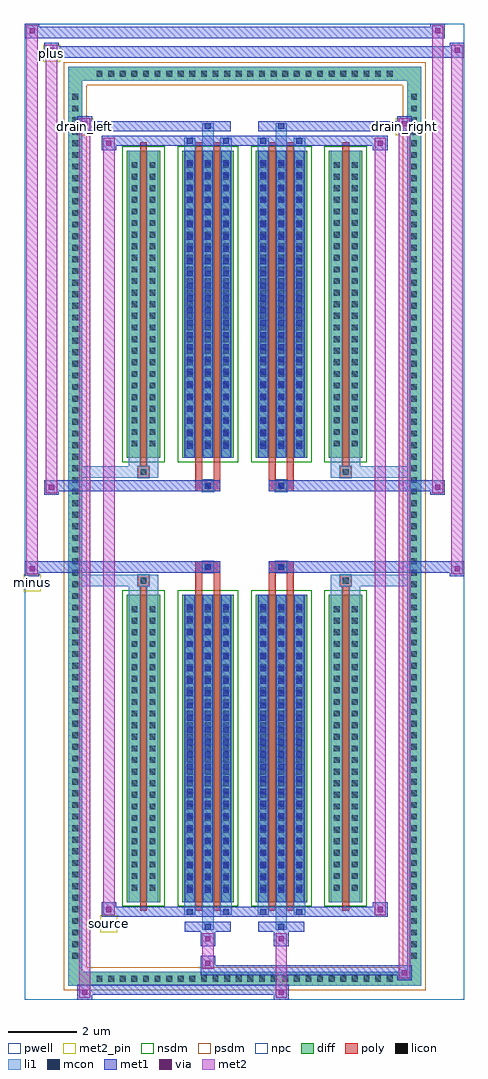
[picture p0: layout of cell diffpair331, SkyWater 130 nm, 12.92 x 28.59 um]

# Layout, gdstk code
import gdstk
lib = gdstk.Library(unit=1e-6, precision=5e-09)
def R(c, l, rs):  # rectangles x0, y0, x1, y1
    for r in rs: c.add(gdstk.rectangle(r[:2], r[2:], *l))
def A(c, l, x, y, w, h, nx, ny, dx, dy):  # array of equal rectangles
    R(c, l, [(x+i*dx, y+j*dy, x+i*dx+w, y+j*dy+h) for i in range(nx) for j in range(ny)])
def P(c, l, *ps):  # polygons
    for p in ps: c.add(gdstk.Polygon(p, *l))
pwell = (64, 44)
diff = (65, 20)
poly = (66, 20)
licon = (66, 44)
li1 = (67, 20)
mcon = (67, 44)
met1 = (68, 20)
via = (68, 44)
met2_pin = (69, 16)
met2 = (69, 20)
nsdm = (93, 44)
psdm = (94, 20)
npc = (95, 20)

diffpair331 = lib.new_cell('diffpair331')
R(diffpair331, pwell, [(-6.44,-13.86,6.44,14.73), (-3.76,-12.05,-0.01,-0.825), (0.01,-12.05,3.76,-0.825), (-3.76,0.825,-0.01,12.05), (0.01,0.825,3.76,12.05)])
A(diffpair331, diff, -4.455, -13.46, 0.41, 0.41, 26, 2, 0.34, 26.51)
A(diffpair331, diff, -5.17, -12.785, 0.41, 0.41, 1, 75, 0, 0.34)
A(diffpair331, diff, 4.76, -12.785, 0.41, 0.41, 1, 75, 0, 0.34)
R(diffpair331, diff, [(-4.455,-13.46,4.455,-13.05), (-5.17,-12.785,-4.76,12.785), (4.76,-12.785,5.17,12.785), (-3.45,-11.005,-2.47,-2.005), (-1.83,-11.005,-0.32,-2.005), (0.32,-11.005,1.83,-2.005), (2.47,-11.005,3.45,-2.005), (-3.45,2.005,-2.47,11.005), (-1.83,2.005,-0.32,11.005), (0.32,2.005,1.83,11.005), (2.47,2.005,3.45,11.005), (-4.455,13.05,4.455,13.46)])
P(diffpair331, diff, [(5.17,13.46),(-5.17,13.46),(-5.17,-13.05),(-4.76,-13.05),(-4.76,13.05),(4.76,13.05),(4.76,-13.05),(-4.76,-13.05),(-5.17,-13.05),(-5.17,-13.46),(5.17,-13.46)])
R(diffpair331, poly, [(-3.06,-11.255,-2.86,-1.755), (-1.44,-11.255,-1.24,-1.755), (-0.91,-11.255,-0.71,-1.755), (0.71,-11.255,0.91,-1.755), (1.24,-11.255,1.44,-1.755), (2.86,-11.255,3.06,-1.755), (-3.125,-1.755,-2.795,-1.425), (-3.125,-1.755,-2.795,-1.425), (-1.44,-1.755,-1.24,-1.355), (-0.91,-1.755,-0.71,-1.355), (0.71,-1.755,0.91,-1.355), (1.24,-1.755,1.44,-1.355), (2.795,-1.755,3.125,-1.425), (2.795,-1.755,3.125,-1.425), (-1.44,-1.355,-0.71,-1.025), (-1.24,-1.355,-0.91,-1.025), (0.71,-1.355,1.44,-1.025), (0.91,-1.355,1.24,-1.025), (-1.44,1.025,-0.71,1.355), (-1.24,1.025,-0.91,1.355), (0.71,1.025,1.44,1.355), (0.91,1.025,1.24,1.355), (-1.44,1.355,-1.24,1.755), (-0.91,1.355,-0.71,1.755), (0.71,1.355,0.91,1.755), (1.24,1.355,1.44,1.755), (-3.125,1.425,-2.795,1.755), (-3.125,1.425,-2.795,1.755), (2.795,1.425,3.125,1.755), (2.795,1.425,3.125,1.755), (-3.06,1.755,-2.86,11.255), (-1.44,1.755,-1.24,11.255), (-0.91,1.755,-0.71,11.255), (0.71,1.755,0.91,11.255), (1.24,1.755,1.44,11.255), (2.86,1.755,3.06,11.255)])
A(diffpair331, licon, -4.335, -13.34, 0.17, 0.17, 26, 2, 0.34, 26.51)
A(diffpair331, licon, -5.05, -12.665, 0.17, 0.17, 1, 75, 0, 0.34)
A(diffpair331, licon, 4.88, -12.665, 0.17, 0.17, 1, 75, 0, 0.34)
A(diffpair331, licon, -3.31, -10.67, 0.17, 0.17, 1, 25, 0, 0.34)
A(diffpair331, licon, -2.78, -10.67, 0.17, 0.17, 1, 25, 0, 0.34)
A(diffpair331, licon, -1.69, -10.67, 0.17, 0.17, 3, 25, 0.53, 0.34)
A(diffpair331, licon, 0.46, -10.67, 0.17, 0.17, 3, 25, 0.53, 0.34)
A(diffpair331, licon, 2.61, -10.67, 0.17, 0.17, 1, 25, 0, 0.34)
A(diffpair331, licon, 3.14, -10.67, 0.17, 0.17, 1, 25, 0, 0.34)
A(diffpair331, licon, -3.31, 2.34, 0.17, 0.17, 1, 25, 0, 0.34)
A(diffpair331, licon, -2.78, 2.34, 0.17, 0.17, 1, 25, 0, 0.34)
A(diffpair331, licon, -1.69, 2.34, 0.17, 0.17, 3, 25, 0.53, 0.34)
A(diffpair331, licon, 0.46, 2.34, 0.17, 0.17, 3, 25, 0.53, 0.34)
A(diffpair331, licon, 2.61, 2.34, 0.17, 0.17, 1, 25, 0, 0.34)
A(diffpair331, licon, 3.14, 2.34, 0.17, 0.17, 1, 25, 0, 0.34)
R(diffpair331, licon, [(-3.045,-1.675,-2.875,-1.505), (2.875,-1.675,3.045,-1.505), (-1.16,-1.275,-0.99,-1.105), (0.99,-1.275,1.16,-1.105), (-1.16,1.105,-0.99,1.275), (0.99,1.105,1.16,1.275), (-3.045,1.505,-2.875,1.675), (2.875,1.505,3.045,1.675)])
A(diffpair331, li1, -4.415, -13.42, 0.33, 0.33, 26, 2, 0.34, 26.51)
A(diffpair331, li1, -5.13, -12.745, 0.33, 0.33, 1, 75, 0, 0.34)
A(diffpair331, li1, 4.8, -12.745, 0.33, 0.33, 1, 75, 0, 0.34)
A(diffpair331, li1, -1.77, -11.005, 0.33, 9, 3, 2, 0.53, 13.01)
A(diffpair331, li1, 0.38, -11.005, 0.33, 9, 3, 2, 0.53, 13.01)
A(diffpair331, li1, -3.39, -10.75, 0.33, 0.33, 1, 25, 0, 0.34)
A(diffpair331, li1, -2.86, -10.75, 0.33, 0.33, 1, 25, 0, 0.34)
A(diffpair331, li1, -1.77, -10.75, 0.33, 0.33, 3, 25, 0.53, 0.34)
A(diffpair331, li1, 0.38, -10.75, 0.33, 0.33, 3, 25, 0.53, 0.34)
A(diffpair331, li1, 2.53, -10.75, 0.33, 0.33, 1, 25, 0, 0.34)
A(diffpair331, li1, 3.06, -10.75, 0.33, 0.33, 1, 25, 0, 0.34)
A(diffpair331, li1, -1.69, -10.73, 0.17, 0.17, 3, 24, 0.53, 0.36)
A(diffpair331, li1, -1.69, -10.73, 0.17, 8.45, 3, 2, 0.53, 13.01)
A(diffpair331, li1, 0.46, -10.73, 0.17, 0.17, 3, 24, 0.53, 0.36)
A(diffpair331, li1, 0.46, -10.73, 0.17, 8.45, 3, 2, 0.53, 13.01)
A(diffpair331, li1, -3.39, 2.26, 0.33, 0.33, 1, 25, 0, 0.34)
A(diffpair331, li1, -2.86, 2.26, 0.33, 0.33, 1, 25, 0, 0.34)
A(diffpair331, li1, -1.77, 2.26, 0.33, 0.33, 3, 25, 0.53, 0.34)
A(diffpair331, li1, 0.38, 2.26, 0.33, 0.33, 3, 25, 0.53, 0.34)
A(diffpair331, li1, 2.53, 2.26, 0.33, 0.33, 1, 25, 0, 0.34)
A(diffpair331, li1, 3.06, 2.26, 0.33, 0.33, 1, 25, 0, 0.34)
A(diffpair331, li1, -1.69, 2.28, 0.17, 0.17, 3, 24, 0.53, 0.36)
A(diffpair331, li1, 0.46, 2.28, 0.17, 0.17, 3, 24, 0.53, 0.36)
R(diffpair331, li1, [(-5.17,-13.46,-4.76,-13.05), (-5.17,-13.46,-4.76,-13.05), (-4.76,-13.46,4.76,-13.05), (4.76,-13.46,5.17,-13.05), (4.76,-13.46,5.17,-13.05), (-5.17,-13.05,-4.76,13.05), (4.76,-13.05,5.17,13.05), (-1.24,-11.81,-0.91,-11.005), (-1.16,-11.81,-0.99,-11.64), (0.91,-11.81,1.24,-11.005), (0.99,-11.81,1.16,-11.64), (-1.77,-11.38,-1.44,-11.005), (-1.69,-11.38,-1.52,-11.21), (-0.71,-11.38,-0.38,-11.005), (-0.63,-11.38,-0.46,-11.21), (0.38,-11.38,0.71,-11.005), (0.46,-11.38,0.63,-11.21), (1.44,-11.38,1.77,-11.005), (1.52,-11.38,1.69,-11.21), (-3.39,-11.005,-3.06,-2.005), (-2.86,-11.005,-2.53,-2.005), (2.53,-11.005,2.86,-2.005), (3.06,-11.005,3.39,-2.005), (-3.39,-2.005,-3.06,-1.425), (-2.86,-2.005,-2.53,-1.425), (2.53,-2.005,2.86,-1.425), (3.06,-2.005,3.39,-1.425), (-5.17,-1.755,-3.125,-1.425), (-3.39,-1.755,-3.125,-1.425), (-3.125,-1.755,-2.795,-1.425), (-2.795,-1.755,-2.53,-1.425), (2.53,-1.755,2.795,-1.425), (2.795,-1.755,3.125,-1.425), (2.795,-1.755,5.17,-1.425), (3.125,-1.755,3.39,-1.425), (-1.24,-1.355,-0.91,-1.025), (0.91,-1.355,1.24,-1.025), (-1.24,1.025,-0.91,1.355), (0.91,1.025,1.24,1.355), (-5.17,1.425,-3.125,1.755), (-3.39,1.425,-3.125,1.755), (-3.39,1.425,-3.06,2.005), (-3.125,1.425,-2.795,1.755), (-2.86,1.425,-2.53,2.005), (-2.795,1.425,-2.53,1.755), (2.53,1.425,2.795,1.755), (2.53,1.425,2.86,2.005), (2.795,1.425,3.125,1.755), (2.795,1.425,5.17,1.755), (3.06,1.425,3.39,2.005), (3.125,1.425,3.39,1.755), (-3.39,2.005,-3.06,11.005), (-2.86,2.005,-2.53,11.005), (2.53,2.005,2.86,11.005), (3.06,2.005,3.39,11.005), (-1.77,11.005,-1.44,11.38), (-1.24,11.005,-0.91,11.81), (-0.71,11.005,-0.38,11.38), (0.38,11.005,0.71,11.38), (0.91,11.005,1.24,11.81), (1.44,11.005,1.77,11.38), (-1.69,11.21,-1.52,11.38), (-0.63,11.21,-0.46,11.38), (0.46,11.21,0.63,11.38), (1.52,11.21,1.69,11.38), (-1.16,11.64,-0.99,11.81), (0.99,11.64,1.16,11.81), (-5.17,13.05,-4.76,13.46), (-5.17,13.05,-4.76,13.46), (-4.76,13.05,4.76,13.46), (4.76,13.05,5.17,13.46), (4.76,13.05,5.17,13.46)])
A(diffpair331, mcon, -1.69, -10.73, 0.17, 0.17, 3, 24, 0.53, 0.36)
A(diffpair331, mcon, 0.46, -10.73, 0.17, 0.17, 3, 24, 0.53, 0.36)
A(diffpair331, mcon, -1.69, 2.28, 0.17, 0.17, 3, 24, 0.53, 0.36)
A(diffpair331, mcon, 0.46, 2.28, 0.17, 0.17, 3, 24, 0.53, 0.36)
R(diffpair331, mcon, [(-1.16,-11.81,-0.99,-11.64), (0.99,-11.81,1.16,-11.64), (-1.69,-11.38,-1.52,-11.21), (-0.63,-11.38,-0.46,-11.21), (0.46,-11.38,0.63,-11.21), (1.52,-11.38,1.69,-11.21), (-1.16,-1.275,-0.99,-1.105), (0.99,-1.275,1.16,-1.105), (-1.16,1.105,-0.99,1.275), (0.99,1.105,1.16,1.275), (-1.69,11.21,-1.52,11.38), (-0.63,11.21,-0.46,11.38), (0.46,11.21,0.63,11.38), (1.52,11.21,1.69,11.38), (-1.16,11.64,-0.99,11.81), (0.99,11.64,1.16,11.81)])
A(diffpair331, met1, -1.75, -11.005, 0.29, 9, 3, 2, 0.53, 13.01)
A(diffpair331, met1, 0.4, -11.005, 0.29, 9, 3, 2, 0.53, 13.01)
A(diffpair331, met1, -1.75, -10.79, 0.29, 0.29, 3, 24, 0.53, 0.36)
A(diffpair331, met1, 0.4, -10.79, 0.29, 0.29, 3, 24, 0.53, 0.36)
A(diffpair331, met1, -1.75, 2.22, 0.29, 0.29, 3, 24, 0.53, 0.36)
A(diffpair331, met1, 0.4, 2.22, 0.29, 0.29, 3, 24, 0.53, 0.36)
R(diffpair331, met1, [(-4.9,-13.86,-4.47,-13.43), (0.86,-13.86,1.29,-13.43), (-4.9,-13.72,1.29,-13.43), (4.47,-13.29,4.9,-12.86), (-1.29,-13.15,4.9,-12.86), (-1.29,-13.01,-0.86,-12.58), (-1.29,-12.3,-0.86,-11.87), (0.86,-12.3,1.29,-11.87), (-1.75,-11.87,-0.4,-11.58), (-1.22,-11.87,-0.93,-11.58), (0.4,-11.87,1.75,-11.58), (0.93,-11.87,1.22,-11.58), (-4.19,-11.44,-3.76,-11.01), (-4.19,-11.44,-1.75,-11.15), (-1.75,-11.44,-1.46,-11.15), (-1.75,-11.44,-0.4,-11.15), (-0.69,-11.44,-0.4,-11.15), (-0.4,-11.44,0.4,-11.15), (0.4,-11.44,0.69,-11.15), (0.4,-11.44,1.75,-11.15), (1.46,-11.44,1.75,-11.15), (1.75,-11.44,4.19,-11.15), (3.76,-11.44,4.19,-11.01), (-6.44,-1.455,-6.01,-1.025), (6.01,-1.455,6.44,-1.025), (-6.44,-1.355,-0.71,-1.025), (-1.44,-1.355,-0.71,-1.025), (0.71,-1.355,1.44,-1.025), (0.71,-1.355,6.44,-1.025), (-1.22,-1.335,-0.93,-1.045), (0.93,-1.335,1.22,-1.045), (-5.87,0.925,-5.44,1.355), (5.44,0.925,5.87,1.355), (-5.87,1.025,-1.44,1.355), (-1.44,1.025,-0.71,1.355), (0.71,1.025,1.44,1.355), (1.44,1.025,5.87,1.355), (-1.22,1.045,-0.93,1.335), (0.93,1.045,1.22,1.335), (-4.19,11.01,-3.76,11.44), (3.76,11.01,4.19,11.44), (-4.19,11.15,-1.75,11.44), (-1.75,11.15,-1.46,11.44), (-1.75,11.15,-0.4,11.44), (-0.69,11.15,-0.4,11.44), (-0.4,11.15,0.4,11.44), (0.4,11.15,0.69,11.44), (0.4,11.15,1.75,11.44), (1.46,11.15,1.75,11.44), (1.75,11.15,4.19,11.44), (-4.9,11.58,-4.47,12.01), (-4.9,11.58,-1.75,11.87), (-1.75,11.58,-0.4,11.87), (-1.22,11.58,-0.93,11.87), (0.4,11.58,1.75,11.87), (0.93,11.58,1.22,11.87), (1.75,11.58,4.9,11.87), (4.47,11.58,4.9,12.01), (-5.87,13.73,-5.44,14.16), (-5.87,13.73,-3.76,14.06), (-3.76,13.73,3.76,14.06), (3.76,13.73,6.44,14.06), (6.01,13.73,6.44,14.16), (-6.44,14.3,-6.01,14.73), (-6.44,14.3,-3.76,14.63), (-3.76,14.3,3.76,14.63), (3.76,14.3,5.87,14.63), (5.44,14.3,5.87,14.73)])
R(diffpair331, via, [(-4.76,-13.72,-4.61,-13.57), (1,-13.72,1.15,-13.57), (4.61,-13.15,4.76,-13), (-1.15,-12.87,-1,-12.72), (-1.15,-12.16,-1,-12.01), (1,-12.16,1.15,-12.01), (-4.05,-11.3,-3.9,-11.15), (3.9,-11.3,4.05,-11.15), (-6.3,-1.315,-6.15,-1.165), (6.15,-1.315,6.3,-1.165), (-5.73,1.065,-5.58,1.215), (5.58,1.065,5.73,1.215), (-4.05,11.15,-3.9,11.3), (3.9,11.15,4.05,11.3), (-4.76,11.72,-4.61,11.87), (4.61,11.72,4.76,11.87), (-5.73,13.87,-5.58,14.02), (6.15,13.87,6.3,14.02), (-6.3,14.44,-6.15,14.59), (5.58,14.44,5.73,14.59)])
R(diffpair331, met2_pin, [(-4.225,-11.89,-3.725,-11.39), (-6.475,-1.905,-5.975,-1.405), (-4.935,11.46,-4.435,11.96), (4.435,11.46,4.935,11.96), (-5.905,13.61,-5.405,14.11)])
R(diffpair331, met2, [(-4.85,-13.81,-4.52,-13.48), (-4.85,-13.81,-4.52,11.96), (0.91,-13.81,1.24,-13.48), (0.91,-13.48,1.24,-12.25), (4.52,-13.24,4.85,-12.91), (4.52,-13.24,4.85,11.96), (-1.24,-12.96,-0.91,-12.63), (-1.24,-12.63,-0.91,-12.25), (-1.24,-12.25,-0.91,-11.92), (0.91,-12.25,1.24,-11.92), (-4.14,-11.39,-3.81,-11.06), (-4.14,-11.39,-3.81,11.39), (3.81,-11.39,4.14,-11.06), (3.81,-11.39,4.14,11.39), (-6.39,-1.405,-6.06,-1.075), (-6.39,-1.405,-6.06,14.68), (6.06,-1.405,6.39,-1.075), (6.06,-1.405,6.39,14.11), (-5.82,0.975,-5.49,1.305), (-5.82,0.975,-5.49,14.11), (5.49,0.975,5.82,1.305), (5.49,0.975,5.82,14.68), (-4.14,11.06,-3.81,11.39), (3.81,11.06,4.14,11.39), (-4.85,11.63,-4.52,11.96), (4.52,11.63,4.85,11.96), (-5.82,13.78,-5.49,14.11), (6.06,13.78,6.39,14.11), (-6.39,14.35,-6.06,14.68), (5.49,14.35,5.82,14.68)])
P(diffpair331, met2, [(6.39,-1.405),(6.39,-1.405),(6.39,-1.075),(6.39,-1.075)],
  [(6.39,13.78),(6.39,13.78),(6.39,14.11),(6.39,14.11)],
  [(-6.06,-1.405),(-6.06,-1.405),(-6.06,-1.075),(-6.06,-1.075)],
  [(-6.06,14.35),(-6.06,14.35),(-6.06,14.68),(-6.06,14.68)],
  [(5.82,0.975),(5.82,0.975),(5.82,1.305),(5.82,1.305)],
  [(5.82,14.35),(5.82,14.35),(5.82,14.68),(5.82,14.68)],
  [(-5.49,0.975),(-5.49,0.975),(-5.49,1.305),(-5.49,1.305)],
  [(-5.49,13.78),(-5.49,13.78),(-5.49,14.11),(-5.49,14.11)],
  [(-4.52,-13.81),(-4.52,-13.81),(-4.52,-13.48),(-4.52,-13.48)],
  [(-4.52,11.63),(-4.52,11.63),(-4.52,11.96),(-4.52,11.96)],
  [(4.85,-13.24),(4.85,-13.24),(4.85,-12.91),(4.85,-12.91)],
  [(4.85,11.63),(4.85,11.63),(4.85,11.96),(4.85,11.96)],
  [(-3.81,-11.39),(-3.81,-11.39),(-3.81,-11.06),(-3.81,-11.06)],
  [(-3.81,11.06),(-3.81,11.06),(-3.81,11.39),(-3.81,11.39)],
  [(4.14,-11.39),(4.14,-11.39),(4.14,-11.06),(4.14,-11.06)],
  [(4.14,11.06),(4.14,11.06),(4.14,11.39),(4.14,11.39)])
R(diffpair331, nsdm, [(-3.58,-11.135,-2.34,-1.875), (-1.96,-11.135,-0.19,-1.875), (0.19,-11.135,1.96,-1.875), (2.34,-11.135,3.58,-1.875), (-3.58,1.875,-2.34,11.135), (-1.96,1.875,-0.19,11.135), (0.19,1.875,1.96,11.135), (2.34,1.875,3.58,11.135)])
P(diffpair331, psdm, [(5.3,13.59),(-5.3,13.59),(-5.3,-12.92),(-4.63,-12.92),(-4.63,12.92),(4.63,12.92),(4.63,-12.92),(-4.63,-12.92),(-5.3,-12.92),(-5.3,-13.59),(5.3,-13.59)])
R(diffpair331, npc, [(-3.145,-1.775,-2.775,-1.405), (2.775,-1.775,3.145,-1.405), (-1.26,-1.375,-0.89,-1.005), (0.89,-1.375,1.26,-1.005), (-1.26,1.005,-0.89,1.375), (0.89,1.005,1.26,1.375), (-3.145,1.405,-2.775,1.775), (2.775,1.405,3.145,1.775)])
diffpair331.add(gdstk.Label('minus', (-6.225,-1.655), layer=69, texttype=5))
diffpair331.add(gdstk.Label('drain_right', (4.685,11.71), layer=69, texttype=5))
diffpair331.add(gdstk.Label('drain_left', (-4.685,11.71), layer=69, texttype=5))
diffpair331.add(gdstk.Label('source', (-3.975,-11.64), layer=69, texttype=5))
diffpair331.add(gdstk.Label('plus', (-5.655,13.86), layer=69, texttype=5))

lib.write_gds('diffpair331.gds')
